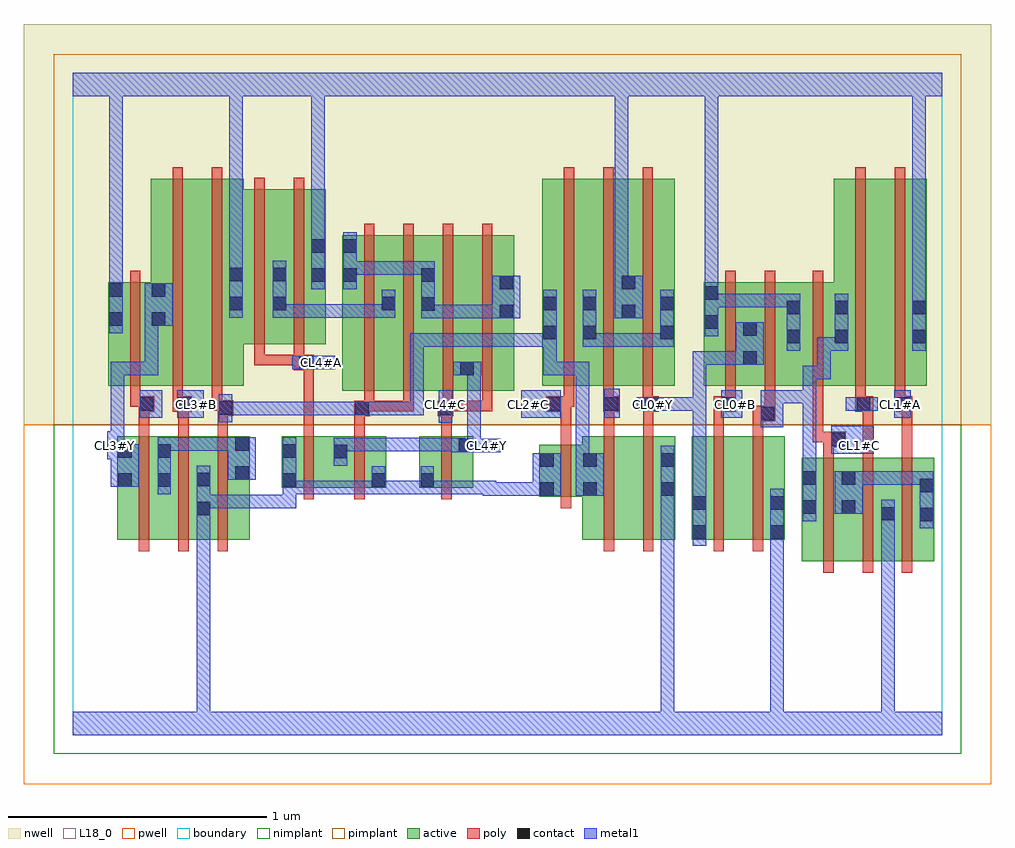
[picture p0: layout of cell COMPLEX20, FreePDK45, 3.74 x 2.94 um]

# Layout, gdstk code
import gdstk
lib = gdstk.Library(unit=1e-6, precision=1e-09)
def R(c, l, rs):  # rectangles x0, y0, x1, y1
    for r in rs: c.add(gdstk.rectangle(r[:2], r[2:], *l))
def A(c, l, x, y, w, h, nx, ny, dx, dy):  # array of equal rectangles
    R(c, l, [(x+i*dx, y+j*dy, x+i*dx+w, y+j*dy+h) for i in range(nx) for j in range(ny)])
active = (1, 0)
pwell = (2, 0)
nwell = (3, 0)
nimplant = (4, 0)
pimplant = (5, 0)
poly = (9, 0)
contact = (10, 0)
metal1 = (11, 0)
L18_0 = (18, 0)
boundary = (235, 0)

complex20 = lib.new_cell('COMPLEX20')
A(complex20, active, 2.816, 0.672, 0.06, 0.4, 3, 1, 0.152, 0)
A(complex20, active, 1.19, 1.332, 0.212, 0.6, 3, 1, 0.152, 0)
R(complex20, active, [(2.816,0.672,3.028,1.072), (2.968,0.672,3.18,1.072), (3.12,0.672,3.328,1.072), (3.268,0.672,3.328,1.072), (0.172,0.756,0.232,1.156), (0.172,0.756,0.384,1.156), (0.324,0.756,0.536,1.156), (0.324,0.756,0.384,1.128), (0.476,0.756,0.684,1.156), (0.476,0.756,0.536,1.018), (0.624,0.756,0.684,1.156), (1.968,0.756,2.148,1.156), (2.148,0.756,2.328,1.156), (2.268,0.756,2.328,1.156), (2.392,0.756,2.452,1.156), (2.392,0.756,2.572,1.156), (2.572,0.756,2.752,1.156), (2.692,0.756,2.752,1.156), (1.968,0.884,2.028,1.094), (1.802,0.922,2.028,1.122), (1.802,0.922,1.862,1.122), (0.808,0.956,0.868,1.156), (0.808,0.956,1.064,1.156), (1.004,0.956,1.212,1.156), (1.004,0.956,1.064,1.126), (1.152,0.956,1.212,1.156), (1.34,0.956,1.4,1.156), (1.34,0.956,1.548,1.156), (1.488,0.956,1.548,1.156), (1.042,1.332,1.25,1.932), (1.042,1.332,1.102,1.932), (1.646,1.332,1.706,1.844), (0.138,1.35,0.198,1.75), (0.138,1.35,0.362,1.75), (0.302,1.35,0.482,2.15), (0.302,1.35,0.362,2.15), (0.482,1.35,0.662,2.15), (1.814,1.35,1.874,2.044), (1.814,1.35,2.026,2.15), (1.966,1.35,2.026,2.044), (1.966,1.35,2.178,2.15), (2.118,1.35,2.326,2.15), (2.266,1.35,2.326,2.044), (2.438,1.35,2.498,1.75), (2.438,1.35,2.646,1.75), (2.586,1.35,2.814,1.75), (2.586,1.35,2.646,1.644), (2.754,1.35,2.814,1.75), (2.754,1.35,3,1.75), (2.94,1.35,3.12,2.15), (2.94,1.35,3,2.15), (3.12,1.35,3.3,2.15), (3.24,1.35,3.3,2.044), (1.494,1.388,1.554,1.844), (2.118,1.448,2.178,2.044), (0.602,1.51,0.83,2.11), (0.77,1.51,0.978,2.11), (0.918,1.51,0.978,2.11), (1.342,1.636,1.402,1.844), (0.602,1.638,0.662,1.844), (0.77,1.638,0.83,1.844), (1.19,1.638,1.25,1.844)])
R(complex20, pwell, [(-0.188,-0.188,3.548,1.2)])
R(complex20, nwell, [(-0.188,1.2,3.548,2.748)])
R(complex20, nimplant, [(-0.072,-0.072,3.432,1.2)])
R(complex20, pimplant, [(-0.072,1.2,3.432,2.632)])
A(complex20, poly, 2.9, 0.628, 0.04, 0.488, 3, 1, 0.152, 0)
A(complex20, poly, 0.256, 0.712, 0.04, 0.488, 3, 1, 0.152, 0)
A(complex20, poly, 1.126, 1.252, 0.04, 0.076, 4, 1, 0.152, 0)
A(complex20, poly, 1.898, 1.27, 0.04, 0.076, 3, 1, 0.152, 0)
A(complex20, poly, 1.126, 1.288, 0.04, 0.688, 4, 1, 0.152, 0)
A(complex20, poly, 1.898, 1.306, 0.04, 0.888, 3, 1, 0.152, 0)
R(complex20, poly, [(2.052,0.712,2.092,1.2), (2.204,0.712,2.244,1.2), (2.476,0.712,2.516,1.2), (2.628,0.712,2.668,1.2), (1.886,0.878,1.926,1.166), (0.892,0.912,0.932,1.2), (1.088,0.912,1.128,1.2), (1.424,0.912,1.464,1.2), (2.9,1.076,2.94,1.152), (3.052,1.076,3.092,1.29), (3.204,1.076,3.244,1.29), (2.9,1.112,2.986,1.172), (1.886,1.126,1.926,1.29), (2.86,1.132,2.9,1.346), (2.86,1.132,2.94,1.172), (2.9,1.132,2.94,1.172), (0.256,1.16,0.296,1.29), (0.408,1.16,0.448,1.29), (0.56,1.16,0.6,1.274), (0.892,1.16,0.932,1.45), (1.088,1.16,1.128,1.272), (1.424,1.16,1.464,1.272), (2.052,1.16,2.092,1.29), (2.204,1.16,2.244,1.29), (2.476,1.16,2.516,1.29), (2.628,1.16,2.668,1.254), (2.628,1.214,2.714,1.274), (1.088,1.232,1.148,1.292), (1.41,1.232,1.47,1.292), (1.424,1.232,1.464,1.272), (1.424,1.232,1.464,1.272), (0.56,1.234,0.62,1.294), (2.674,1.234,2.714,1.274), (2.674,1.234,2.714,1.274), (2.674,1.234,2.714,1.346), (0.256,1.25,0.316,1.31), (0.386,1.25,0.46,1.31), (0.408,1.25,0.448,1.29), (0.408,1.25,0.448,1.29), (1.83,1.25,1.926,1.31), (2.05,1.25,2.11,1.31), (2.204,1.25,2.264,1.31), (2.476,1.25,2.562,1.31), (3.024,1.25,3.092,1.31), (3.052,1.25,3.092,1.29), (3.052,1.25,3.092,1.29), (3.182,1.25,3.244,1.31), (1.108,1.252,1.148,1.292), (1.108,1.252,1.166,1.292), (1.126,1.252,1.166,1.292), (1.126,1.252,1.166,1.292), (1.126,1.252,1.318,1.292), (1.278,1.252,1.318,1.292), (1.43,1.252,1.622,1.292), (1.582,1.252,1.622,1.292), (1.582,1.252,1.622,1.292), (1.582,1.252,1.622,1.292), (0.538,1.254,0.578,1.346), (0.538,1.254,0.6,1.294), (0.56,1.254,0.6,1.294), (0.222,1.27,0.262,1.346), (0.222,1.27,0.296,1.31), (0.256,1.27,0.296,1.31), (0.386,1.27,0.426,1.346), (1.886,1.27,1.926,1.31), (1.886,1.27,1.938,1.31), (2.05,1.27,2.09,1.31), (2.05,1.27,2.09,1.31), (2.202,1.27,2.244,1.31), (2.204,1.27,2.244,1.31), (2.522,1.27,2.562,1.346), (2.522,1.27,2.562,1.31), (2.522,1.27,2.562,1.31), (3.024,1.27,3.064,1.346), (3.176,1.27,3.216,1.346), (3.176,1.27,3.222,1.31), (3.182,1.27,3.222,1.31), (0.222,1.306,0.262,1.794), (0.386,1.306,0.426,2.194), (0.538,1.306,0.578,2.194), (2.522,1.306,2.562,1.794), (2.674,1.306,2.714,1.794), (2.86,1.306,2.9,1.794), (3.024,1.306,3.064,2.194), (3.176,1.306,3.216,2.194), (0.854,1.41,0.932,1.47), (0.892,1.41,0.932,1.45), (0.892,1.41,0.932,1.45), (0.702,1.43,0.742,1.506), (0.702,1.43,0.742,1.47), (0.702,1.43,0.894,1.47), (0.854,1.43,0.894,1.506), (0.854,1.43,0.894,1.47), (0.854,1.43,0.894,1.47), (0.702,1.466,0.742,2.154), (0.854,1.466,0.894,2.154)])
R(complex20, contact, [(2.396,0.76,2.448,0.812), (2.696,0.76,2.748,0.812), (3.272,0.828,3.324,0.88), (3.124,0.83,3.176,0.882), (0.48,0.85,0.532,0.902), (2.82,0.856,2.872,0.908), (2.972,0.856,3.024,0.908), (2.396,0.872,2.448,0.924), (2.696,0.872,2.748,0.924), (1.806,0.926,1.858,0.978), (1.972,0.926,2.024,0.978), (2.272,0.926,2.324,0.978), (3.272,0.94,3.324,0.992), (0.176,0.96,0.228,1.012), (0.328,0.96,0.38,1.012), (0.812,0.96,0.864,1.012), (1.156,0.96,1.208,1.012), (1.344,0.96,1.396,1.012), (0.48,0.962,0.532,1.014), (2.82,0.968,2.872,1.02), (2.972,0.968,3.024,1.02), (0.628,0.988,0.68,1.04), (1.806,1.038,1.858,1.09), (1.972,1.038,2.024,1.09), (2.272,1.038,2.324,1.09), (1.008,1.07,1.06,1.122), (0.176,1.072,0.228,1.124), (0.328,1.072,0.38,1.124), (0.812,1.072,0.864,1.124), (1.492,1.094,1.544,1.146), (0.628,1.1,0.68,1.152), (2.93,1.116,2.982,1.168), (2.658,1.218,2.71,1.27), (1.092,1.236,1.144,1.288), (1.414,1.236,1.466,1.288), (0.564,1.238,0.616,1.29), (0.26,1.254,0.312,1.306), (0.404,1.254,0.456,1.306), (1.834,1.254,1.886,1.306), (2.054,1.254,2.106,1.306), (2.208,1.254,2.26,1.306), (2.506,1.254,2.558,1.306), (3.03,1.254,3.082,1.306), (3.186,1.254,3.238,1.306), (1.498,1.392,1.55,1.444), (0.876,1.414,0.928,1.466), (2.59,1.432,2.642,1.484), (2.758,1.514,2.81,1.566), (2.944,1.514,2.996,1.566), (3.244,1.514,3.296,1.566), (1.818,1.53,1.87,1.582), (1.97,1.53,2.022,1.582), (2.27,1.53,2.322,1.582), (2.59,1.544,2.642,1.596), (2.442,1.57,2.494,1.622), (0.142,1.582,0.194,1.634), (0.306,1.582,0.358,1.634), (1.65,1.612,1.702,1.664), (2.122,1.612,2.174,1.664), (2.758,1.626,2.81,1.678), (2.944,1.626,2.996,1.678), (3.244,1.626,3.296,1.678), (1.346,1.64,1.398,1.692), (0.606,1.642,0.658,1.694), (0.774,1.642,0.826,1.694), (1.194,1.642,1.246,1.694), (1.818,1.642,1.87,1.694), (1.97,1.642,2.022,1.694), (2.27,1.642,2.322,1.694), (2.442,1.682,2.494,1.734), (0.142,1.694,0.194,1.746), (0.306,1.694,0.358,1.746), (1.65,1.724,1.702,1.776), (2.122,1.724,2.174,1.776), (0.922,1.752,0.974,1.804), (1.046,1.752,1.098,1.804), (1.346,1.752,1.398,1.804), (0.606,1.754,0.658,1.806), (0.774,1.754,0.826,1.806), (0.922,1.864,0.974,1.916), (1.046,1.864,1.098,1.916)])
R(complex20, metal1, [(0,0,3.36,0.092), (0.48,0.04,0.532,0.092), (0.48,0.04,0.532,0.092), (0.48,0.04,0.532,0.092), (0.48,0.04,0.532,0.092), (0.48,0.04,0.532,0.874), (2.272,0.04,2.324,0.092), (2.272,0.04,2.324,0.092), (2.272,0.04,2.324,0.092), (2.272,0.04,2.324,0.092), (2.272,0.04,2.324,0.092), (2.272,0.04,2.324,0.092), (2.272,0.04,2.324,0.092), (2.272,0.04,2.324,0.092), (2.272,0.04,2.324,0.092), (2.272,0.04,2.324,0.092), (2.272,0.04,2.324,0.95), (2.696,0.04,2.748,0.092), (2.696,0.04,2.748,0.092), (2.696,0.04,2.748,0.092), (2.696,0.04,2.748,0.092), (2.696,0.04,2.748,0.092), (2.696,0.04,2.748,0.092), (2.696,0.04,2.748,0.784), (3.124,0.04,3.176,0.092), (3.124,0.04,3.176,0.092), (3.124,0.04,3.176,0.854), (2.396,0.732,2.448,0.952), (2.696,0.732,2.748,0.784), (2.696,0.732,2.748,0.784), (2.696,0.732,2.748,0.784), (2.696,0.732,2.748,0.784), (2.696,0.732,2.748,0.784), (2.696,0.732,2.748,0.784), (2.696,0.732,2.748,0.952), (3.272,0.8,3.324,1.02), (3.124,0.802,3.176,0.854), (3.124,0.802,3.176,0.854), (3.124,0.802,3.176,0.854), (3.124,0.802,3.176,0.854), (3.124,0.802,3.176,0.854), (3.124,0.802,3.176,0.854), (3.124,0.802,3.176,0.854), (3.124,0.802,3.176,0.854), (3.124,0.802,3.176,0.854), (3.124,0.802,3.176,0.854), (3.124,0.802,3.176,0.91), (0.48,0.822,0.532,0.874), (0.48,0.822,0.532,0.874), (0.48,0.822,0.532,0.874), (0.48,0.822,0.532,0.874), (0.48,0.822,0.532,0.874), (0.48,0.822,0.532,0.874), (0.48,0.822,0.532,0.874), (0.48,0.822,0.532,0.874), (0.48,0.822,0.532,1.042), (2.82,0.828,2.872,1.048), (2.944,0.856,3.052,1.02), (0.48,0.878,0.532,0.93), (0.48,0.878,0.532,0.93), (0.48,0.878,0.65,0.93), (0.598,0.878,0.65,0.93), (0.598,0.878,0.732,0.93), (0.68,0.878,0.732,0.93), (0.68,0.878,0.864,0.93), (0.812,0.878,0.864,0.93), (0.812,0.878,0.864,0.93), (0.812,0.878,0.864,0.93), (0.812,0.878,0.864,0.984), (2.272,0.898,2.324,0.95), (2.272,0.898,2.324,0.95), (2.272,0.898,2.324,1.118), (2.396,0.9,2.448,1.306), (1.584,0.926,1.636,0.978), (1.584,0.926,1.636,0.978), (1.584,0.926,1.83,0.978), (1.584,0.926,1.636,0.984), (1.778,0.926,1.886,1.09), (1.944,0.926,2.052,1.09), (0.328,0.932,0.38,1.152), (0.812,0.932,0.864,0.984), (0.812,0.932,0.864,0.984), (0.812,0.932,0.864,1.152), (0.812,0.932,1.006,0.984), (0.954,0.932,1.006,0.984), (0.954,0.932,1.006,0.984), (0.954,0.932,1.006,0.984), (0.954,0.932,1.208,0.984), (1.156,0.932,1.208,0.984), (1.156,0.932,1.208,0.984), (1.156,0.932,1.208,1.04), (1.156,0.932,1.334,0.984), (1.282,0.932,1.334,0.984), (1.282,0.932,1.396,0.984), (1.344,0.932,1.396,1.04), (1.344,0.932,1.526,0.984), (1.474,0.932,1.526,0.984), (1.474,0.932,1.526,0.984), (1.474,0.932,1.526,0.984), (1.474,0.932,1.636,0.984), (0.148,0.96,0.256,1.124), (3,0.968,3.052,1.02), (3,0.968,3.052,1.02), (3,0.968,3.18,1.02), (3.128,0.968,3.18,1.02), (3.128,0.968,3.324,1.02), (3.272,0.968,3.324,1.02), (3.272,0.968,3.324,1.02), (0.6,0.988,0.708,1.152), (2.82,0.996,2.872,1.334), (1.944,1.038,1.996,1.444), (1.008,1.042,1.06,1.15), (0.134,1.066,0.2,1.174), (0.148,1.072,0.2,1.124), (2.93,1.088,3.094,1.196), (1.464,1.094,1.516,1.146), (1.464,1.094,1.572,1.146), (1.464,1.094,1.516,1.15), (1.52,1.094,1.572,1.146), (1.52,1.094,1.654,1.146), (1.524,1.094,1.576,1.444), (1.008,1.098,1.224,1.15), (1.172,1.098,1.224,1.15), (1.172,1.098,1.224,1.15), (1.172,1.098,1.224,1.15), (1.172,1.098,1.336,1.15), (1.284,1.098,1.336,1.15), (1.284,1.098,1.336,1.15), (1.284,1.098,1.336,1.15), (1.284,1.098,1.516,1.15), (0.328,1.1,0.38,1.152), (0.328,1.1,0.38,1.152), (0.328,1.1,0.504,1.152), (0.452,1.1,0.504,1.152), (0.452,1.1,0.504,1.152), (0.452,1.1,0.504,1.152), (0.452,1.1,0.652,1.152), (0.148,1.122,0.2,1.444), (2.658,1.19,2.746,1.334), (1.414,1.208,1.466,1.334), (0.564,1.21,0.616,1.318), (0.26,1.226,0.346,1.334), (0.404,1.226,0.506,1.334), (1.734,1.226,1.886,1.334), (2.054,1.226,2.114,1.338), (2.506,1.226,2.586,1.334), (3.174,1.226,3.238,1.334), (0.564,1.236,0.716,1.288), (0.664,1.236,0.716,1.288), (0.664,1.236,0.732,1.288), (0.68,1.236,0.732,1.288), (0.68,1.236,0.864,1.288), (0.812,1.236,0.864,1.288), (0.812,1.236,0.864,1.288), (0.812,1.236,0.864,1.288), (0.812,1.236,1.006,1.288), (0.954,1.236,1.006,1.288), (0.954,1.236,1.006,1.288), (0.954,1.236,1.006,1.288), (0.954,1.236,1.116,1.288), (1.064,1.236,1.172,1.288), (1.12,1.236,1.208,1.288), (1.156,1.236,1.208,1.288), (1.156,1.236,1.356,1.288), (1.304,1.236,1.356,1.288), (1.304,1.236,1.356,1.288), (1.304,1.236,1.356,1.288), (1.304,1.236,1.356,1.288), (1.304,1.236,1.356,1.288), (1.304,1.236,1.356,1.554), (2.18,1.254,2.294,1.306), (2.242,1.254,2.294,1.306), (2.242,1.254,2.294,1.306), (2.242,1.254,2.448,1.306), (2.396,1.254,2.448,1.306), (2.396,1.254,2.448,1.306), (2.396,1.254,2.448,1.306), (2.396,1.254,2.448,1.484), (2.986,1.254,3.11,1.306), (2.694,1.282,2.746,1.334), (2.694,1.282,2.746,1.334), (2.694,1.282,2.872,1.334), (2.82,1.282,2.872,1.334), (2.82,1.282,2.872,1.334), (2.82,1.282,2.872,1.334), (2.82,1.282,2.872,1.428), (2.82,1.376,2.872,1.428), (2.82,1.376,2.928,1.428), (2.876,1.376,2.928,1.538), (0.148,1.392,0.2,1.444), (0.148,1.392,0.2,1.444), (0.148,1.392,0.2,1.444), (0.148,1.392,0.33,1.444), (0.278,1.392,0.33,1.444), (0.278,1.392,0.33,1.634), (1.47,1.392,1.578,1.444), (1.524,1.392,1.576,1.444), (1.524,1.392,1.576,1.444), (1.818,1.392,1.87,1.444), (1.818,1.392,1.87,1.444), (1.818,1.392,1.87,1.444), (1.818,1.392,1.87,1.554), (1.818,1.392,1.996,1.444), (1.944,1.392,1.996,1.444), (1.944,1.392,1.996,1.444), (1.944,1.392,1.996,1.444), (0.848,1.414,1.014,1.466), (2.396,1.432,2.448,1.484), (2.396,1.432,2.448,1.484), (2.396,1.432,2.448,1.484), (2.396,1.432,2.614,1.484), (2.562,1.432,2.67,1.596), (2.758,1.486,2.81,1.706), (2.876,1.486,2.996,1.538), (2.944,1.486,2.996,1.706), (3.244,1.486,3.296,1.706), (1.304,1.502,1.356,1.554), (1.304,1.502,1.356,1.554), (1.304,1.502,1.356,1.554), (1.304,1.502,1.496,1.554), (1.444,1.502,1.496,1.554), (1.444,1.502,1.508,1.554), (1.456,1.502,1.508,1.554), (1.456,1.502,1.674,1.554), (1.622,1.502,1.674,1.554), (1.622,1.502,1.682,1.554), (1.63,1.502,1.682,1.554), (1.63,1.502,1.682,1.554), (1.63,1.502,1.682,1.554), (1.63,1.502,1.87,1.554), (1.818,1.502,1.87,1.722), (1.97,1.502,2.022,1.554), (1.97,1.502,2.022,1.554), (1.97,1.502,2.022,1.722), (1.97,1.502,2.184,1.554), (2.132,1.502,2.184,1.554), (2.132,1.502,2.184,1.554), (2.132,1.502,2.184,1.554), (2.132,1.502,2.322,1.554), (2.27,1.502,2.322,1.722), (2.442,1.542,2.494,1.762), (0.142,1.554,0.194,1.774), (0.278,1.582,0.386,1.746), (1.346,1.612,1.398,1.832), (1.346,1.612,1.526,1.664), (1.474,1.612,1.526,1.664), (1.474,1.612,1.526,1.664), (1.474,1.612,1.526,1.664), (1.474,1.612,1.674,1.664), (1.622,1.612,1.674,1.664), (1.622,1.612,1.674,1.664), (1.622,1.612,1.73,1.776), (2.094,1.612,2.202,1.776), (0.606,1.614,0.658,1.834), (0.774,1.614,0.826,1.834), (0.774,1.614,0.896,1.666), (0.844,1.614,0.896,1.666), (0.844,1.614,1.006,1.666), (0.954,1.614,1.006,1.666), (0.954,1.614,1.006,1.666), (0.954,1.614,1.006,1.666), (0.954,1.614,1.116,1.666), (1.064,1.614,1.116,1.666), (1.064,1.614,1.246,1.666), (1.194,1.614,1.246,1.722), (2.442,1.654,2.494,1.706), (2.442,1.654,2.494,1.706), (2.442,1.654,2.628,1.706), (2.576,1.654,2.628,1.706), (2.576,1.654,2.628,1.706), (2.576,1.654,2.628,1.706), (2.576,1.654,2.81,1.706), (3.244,1.654,3.296,2.52), (3.244,1.654,3.296,1.706), (3.244,1.654,3.296,1.706), (3.244,1.654,3.296,1.706), (3.244,1.654,3.296,1.706), (3.244,1.654,3.296,1.706), (3.244,1.654,3.296,1.706), (2.442,1.71,2.494,1.762), (2.442,1.71,2.494,1.762), (2.442,1.71,2.494,1.762), (2.442,1.71,2.494,1.762), (2.442,1.71,2.494,1.762), (2.442,1.71,2.494,1.762), (2.442,1.71,2.494,1.762), (2.442,1.71,2.494,1.762), (2.442,1.71,2.494,1.762), (2.442,1.71,2.494,1.762), (2.442,1.71,2.494,1.762), (2.442,1.71,2.494,1.762), (2.442,1.71,2.494,2.52), (0.142,1.722,0.194,2.52), (0.922,1.724,0.974,1.944), (1.046,1.724,1.098,1.944), (2.094,1.724,2.146,2.52), (1.046,1.78,1.132,1.832), (1.08,1.78,1.132,1.832), (1.08,1.78,1.226,1.832), (1.174,1.78,1.226,1.832), (1.174,1.78,1.334,1.832), (1.282,1.78,1.334,1.832), (1.282,1.78,1.398,1.832), (0.606,1.782,0.658,1.834), (0.606,1.782,0.658,1.834), (0.606,1.782,0.658,2.52), (0.922,1.892,0.974,1.944), (0.922,1.892,0.974,1.944), (0.922,1.892,0.974,1.944), (0.922,1.892,0.974,1.944), (0.922,1.892,0.974,1.944), (0.922,1.892,0.974,1.944), (0.922,1.892,0.974,1.944), (0.922,1.892,0.974,1.944), (0.922,1.892,0.974,2.52), (0,2.468,3.36,2.56), (0.142,2.468,0.194,2.52), (0.142,2.468,0.194,2.52), (0.142,2.468,0.194,2.52), (0.142,2.468,0.194,2.52), (0.142,2.468,0.194,2.52), (0.142,2.468,0.194,2.52), (0.142,2.468,0.194,2.52), (0.142,2.468,0.194,2.52), (0.142,2.468,0.194,2.52), (0.142,2.468,0.194,2.52), (0.142,2.468,0.194,2.52), (0.142,2.468,0.194,2.52), (0.142,2.468,0.194,2.52), (0.142,2.468,0.194,2.52), (0.142,2.468,0.194,2.52), (0.142,2.468,0.194,2.52), (0.606,2.468,0.658,2.52), (0.606,2.468,0.658,2.52), (0.606,2.468,0.658,2.52), (0.606,2.468,0.658,2.52), (0.606,2.468,0.658,2.52), (0.606,2.468,0.658,2.52), (0.922,2.468,0.974,2.52), (0.922,2.468,0.974,2.52), (0.922,2.468,0.974,2.52), (0.922,2.468,0.974,2.52), (2.094,2.468,2.146,2.52), (2.094,2.468,2.146,2.52), (2.094,2.468,2.146,2.52), (2.094,2.468,2.146,2.52), (2.094,2.468,2.146,2.52), (2.094,2.468,2.146,2.52), (2.094,2.468,2.146,2.52), (2.094,2.468,2.146,2.52), (2.442,2.468,2.494,2.52), (2.442,2.468,2.494,2.52), (2.442,2.468,2.494,2.52), (2.442,2.468,2.494,2.52), (3.244,2.468,3.296,2.52), (3.244,2.468,3.296,2.52)])
A(complex20, L18_0, 1.414, 1.254, 0.052, 0.052, 3, 1, 0.32, 0)
R(complex20, L18_0, [(0,0,3.36,0.092), (0.48,0.04,0.532,0.092), (0.48,0.04,0.532,0.092), (0.48,0.04,0.532,0.092), (0.48,0.04,0.532,0.092), (0.48,0.04,0.532,0.874), (2.272,0.04,2.324,0.092), (2.272,0.04,2.324,0.092), (2.272,0.04,2.324,0.092), (2.272,0.04,2.324,0.092), (2.272,0.04,2.324,0.092), (2.272,0.04,2.324,0.092), (2.272,0.04,2.324,0.092), (2.272,0.04,2.324,0.092), (2.272,0.04,2.324,0.092), (2.272,0.04,2.324,0.092), (2.272,0.04,2.324,0.95), (2.696,0.04,2.748,0.092), (2.696,0.04,2.748,0.092), (2.696,0.04,2.748,0.092), (2.696,0.04,2.748,0.092), (2.696,0.04,2.748,0.092), (2.696,0.04,2.748,0.092), (2.696,0.04,2.748,0.784), (3.124,0.04,3.176,0.092), (3.124,0.04,3.176,0.092), (3.124,0.04,3.176,0.854), (2.396,0.732,2.448,0.952), (2.696,0.732,2.748,0.784), (2.696,0.732,2.748,0.784), (2.696,0.732,2.748,0.784), (2.696,0.732,2.748,0.784), (2.696,0.732,2.748,0.784), (2.696,0.732,2.748,0.784), (2.696,0.732,2.748,0.952), (3.124,0.802,3.176,0.854), (3.124,0.802,3.176,0.854), (3.124,0.802,3.176,0.854), (3.124,0.802,3.176,0.854), (3.124,0.802,3.176,0.854), (3.124,0.802,3.176,0.854), (3.124,0.802,3.176,0.854), (3.124,0.802,3.176,0.854), (3.124,0.802,3.176,0.854), (3.124,0.802,3.176,0.854), (3.124,0.802,3.176,0.91), (0.48,0.822,0.532,0.874), (0.48,0.822,0.532,0.874), (0.48,0.822,0.532,0.874), (0.48,0.822,0.532,0.874), (0.48,0.822,0.532,0.874), (0.48,0.822,0.532,0.874), (0.48,0.822,0.532,0.874), (0.48,0.822,0.532,0.874), (0.48,0.822,0.532,1.042), (2.82,0.828,2.872,1.048), (0.48,0.878,0.532,0.93), (0.48,0.878,0.532,0.93), (0.48,0.878,0.65,0.93), (0.598,0.878,0.65,0.93), (0.598,0.878,0.732,0.93), (0.68,0.878,0.732,0.93), (0.68,0.878,0.864,0.93), (0.812,0.878,0.864,0.93), (0.812,0.878,0.864,0.93), (0.812,0.878,0.864,0.93), (0.812,0.878,0.864,0.984), (2.272,0.898,2.324,0.95), (2.272,0.898,2.324,0.95), (2.272,0.898,2.324,1.118), (2.396,0.9,2.448,1.306), (1.584,0.926,1.636,0.978), (1.584,0.926,1.636,0.978), (1.584,0.926,1.636,0.984), (1.584,0.926,1.83,0.978), (1.778,0.926,1.886,1.09), (0.812,0.932,0.864,0.984), (0.812,0.932,0.864,0.984), (0.812,0.932,0.864,1.152), (0.812,0.932,1.006,0.984), (0.954,0.932,1.006,0.984), (0.954,0.932,1.006,0.984), (0.954,0.932,1.006,0.984), (0.954,0.932,1.208,0.984), (1.156,0.932,1.208,0.984), (1.156,0.932,1.208,0.984), (1.156,0.932,1.208,1.04), (1.156,0.932,1.334,0.984), (1.282,0.932,1.334,0.984), (1.282,0.932,1.396,0.984), (1.344,0.932,1.526,0.984), (1.344,0.932,1.396,1.04), (1.474,0.932,1.526,0.984), (1.474,0.932,1.526,0.984), (1.474,0.932,1.526,0.984), (1.474,0.932,1.636,0.984), (0.148,0.96,0.256,1.124), (2.82,0.996,2.872,1.334), (1.008,1.042,1.06,1.15), (0.134,1.066,0.2,1.174), (0.148,1.072,0.2,1.124), (2.93,1.088,3.094,1.196), (0.134,1.094,0.186,1.146), (1.464,1.094,1.516,1.146), (1.464,1.094,1.516,1.15), (1.464,1.094,1.572,1.146), (1.52,1.094,1.572,1.146), (1.52,1.094,1.654,1.146), (1.524,1.094,1.576,1.444), (1.574,1.094,1.626,1.146), (3.014,1.094,3.066,1.146), (1.008,1.098,1.224,1.15), (1.172,1.098,1.224,1.15), (1.172,1.098,1.224,1.15), (1.172,1.098,1.224,1.15), (1.172,1.098,1.336,1.15), (1.284,1.098,1.336,1.15), (1.284,1.098,1.336,1.15), (1.284,1.098,1.336,1.15), (1.284,1.098,1.516,1.15), (0.148,1.122,0.2,1.444), (2.658,1.19,2.746,1.334), (1.414,1.208,1.466,1.334), (0.26,1.226,0.346,1.334), (0.404,1.226,0.506,1.334), (1.734,1.226,1.886,1.334), (2.054,1.226,2.114,1.338), (2.506,1.226,2.586,1.334), (3.174,1.226,3.238,1.334), (0.294,1.254,0.346,1.306), (0.454,1.254,0.506,1.306), (2.18,1.254,2.294,1.306), (2.214,1.254,2.266,1.306), (2.242,1.254,2.294,1.306), (2.242,1.254,2.294,1.306), (2.242,1.254,2.448,1.306), (2.396,1.254,2.448,1.306), (2.396,1.254,2.448,1.306), (2.396,1.254,2.448,1.306), (2.396,1.254,2.448,1.484), (2.534,1.254,2.586,1.306), (2.694,1.254,2.746,1.306), (2.986,1.254,3.11,1.306), (3.014,1.254,3.066,1.306), (3.174,1.254,3.226,1.306), (2.694,1.282,2.746,1.334), (2.694,1.282,2.746,1.334), (2.694,1.282,2.872,1.334), (2.82,1.282,2.872,1.334), (2.82,1.282,2.872,1.334), (2.82,1.282,2.872,1.334), (2.82,1.282,2.872,1.428), (2.82,1.376,2.872,1.428), (2.82,1.376,2.928,1.428), (2.876,1.376,2.928,1.538), (0.148,1.392,0.2,1.444), (0.148,1.392,0.2,1.444), (0.148,1.392,0.2,1.444), (0.148,1.392,0.33,1.444), (0.278,1.392,0.33,1.444), (0.278,1.392,0.33,1.634), (1.47,1.392,1.578,1.444), (1.524,1.392,1.576,1.444), (1.524,1.392,1.576,1.444), (0.848,1.414,1.014,1.466), (0.934,1.414,0.986,1.466), (2.396,1.432,2.448,1.484), (2.396,1.432,2.448,1.484), (2.396,1.432,2.448,1.484), (2.396,1.432,2.614,1.484), (2.562,1.432,2.67,1.596), (2.758,1.486,2.81,1.706), (2.876,1.486,2.996,1.538), (2.944,1.486,2.996,1.706), (3.244,1.486,3.296,1.706), (2.442,1.542,2.494,1.762), (0.142,1.554,0.194,1.774), (0.278,1.582,0.386,1.746), (2.094,1.612,2.202,1.776), (0.606,1.614,0.658,1.834), (2.442,1.654,2.494,1.706), (2.442,1.654,2.494,1.706), (2.442,1.654,2.628,1.706), (2.576,1.654,2.628,1.706), (2.576,1.654,2.628,1.706), (2.576,1.654,2.628,1.706), (2.576,1.654,2.81,1.706), (3.244,1.654,3.296,1.706), (3.244,1.654,3.296,1.706), (3.244,1.654,3.296,1.706), (3.244,1.654,3.296,1.706), (3.244,1.654,3.296,1.706), (3.244,1.654,3.296,1.706), (3.244,1.654,3.296,2.52), (2.442,1.71,2.494,1.762), (2.442,1.71,2.494,1.762), (2.442,1.71,2.494,1.762), (2.442,1.71,2.494,1.762), (2.442,1.71,2.494,1.762), (2.442,1.71,2.494,1.762), (2.442,1.71,2.494,1.762), (2.442,1.71,2.494,1.762), (2.442,1.71,2.494,1.762), (2.442,1.71,2.494,1.762), (2.442,1.71,2.494,1.762), (2.442,1.71,2.494,1.762), (2.442,1.71,2.494,2.52), (0.142,1.722,0.194,2.52), (0.922,1.724,0.974,1.944), (2.094,1.724,2.146,2.52), (0.606,1.782,0.658,1.834), (0.606,1.782,0.658,1.834), (0.606,1.782,0.658,2.52), (0.922,1.892,0.974,1.944), (0.922,1.892,0.974,1.944), (0.922,1.892,0.974,1.944), (0.922,1.892,0.974,1.944), (0.922,1.892,0.974,1.944), (0.922,1.892,0.974,1.944), (0.922,1.892,0.974,1.944), (0.922,1.892,0.974,1.944), (0.922,1.892,0.974,2.52), (0,2.468,3.36,2.56), (0.142,2.468,0.194,2.52), (0.142,2.468,0.194,2.52), (0.142,2.468,0.194,2.52), (0.142,2.468,0.194,2.52), (0.142,2.468,0.194,2.52), (0.142,2.468,0.194,2.52), (0.142,2.468,0.194,2.52), (0.142,2.468,0.194,2.52), (0.142,2.468,0.194,2.52), (0.142,2.468,0.194,2.52), (0.142,2.468,0.194,2.52), (0.142,2.468,0.194,2.52), (0.142,2.468,0.194,2.52), (0.142,2.468,0.194,2.52), (0.142,2.468,0.194,2.52), (0.142,2.468,0.194,2.52), (0.606,2.468,0.658,2.52), (0.606,2.468,0.658,2.52), (0.606,2.468,0.658,2.52), (0.606,2.468,0.658,2.52), (0.606,2.468,0.658,2.52), (0.606,2.468,0.658,2.52), (0.922,2.468,0.974,2.52), (0.922,2.468,0.974,2.52), (0.922,2.468,0.974,2.52), (0.922,2.468,0.974,2.52), (2.094,2.468,2.146,2.52), (2.094,2.468,2.146,2.52), (2.094,2.468,2.146,2.52), (2.094,2.468,2.146,2.52), (2.094,2.468,2.146,2.52), (2.094,2.468,2.146,2.52), (2.094,2.468,2.146,2.52), (2.094,2.468,2.146,2.52), (2.442,2.468,2.494,2.52), (2.442,2.468,2.494,2.52), (2.442,2.468,2.494,2.52), (2.442,2.468,2.494,2.52), (3.244,2.468,3.296,2.52), (3.244,2.468,3.296,2.52)])
R(complex20, boundary, [(0,0,3.36,2.56)])
complex20.add(gdstk.Label('CL0#B', (2.56,1.28), layer=11, texttype=0))
complex20.add(gdstk.Label('CL0#Y', (2.24,1.28), layer=11, texttype=0))
complex20.add(gdstk.Label('CL1#A', (3.2,1.28), layer=11, texttype=0))
complex20.add(gdstk.Label('CL1#B', (3.04,1.28), layer=11, texttype=0))
complex20.add(gdstk.Label('CL1#C', (3.04,1.12), layer=11, texttype=0))
complex20.add(gdstk.Label('CL1#Y', (2.72,1.28), layer=11, texttype=0))
complex20.add(gdstk.Label('CL2#B', (2.08,1.28), layer=11, texttype=0))
complex20.add(gdstk.Label('CL2#C', (1.76,1.28), layer=11, texttype=0))
complex20.add(gdstk.Label('CL3#B', (0.48,1.28), layer=11, texttype=0))
complex20.add(gdstk.Label('CL3#C', (0.32,1.28), layer=11, texttype=0))
complex20.add(gdstk.Label('CL3#Y', (0.16,1.12), layer=11, texttype=0))
complex20.add(gdstk.Label('CL4#A', (0.96,1.44), layer=11, texttype=0))
complex20.add(gdstk.Label('CL4#C', (1.44,1.28), layer=11, texttype=0))
complex20.add(gdstk.Label('CL4#Y', (1.6,1.12), layer=11, texttype=0))

lib.write_gds('COMPLEX20.gds')
